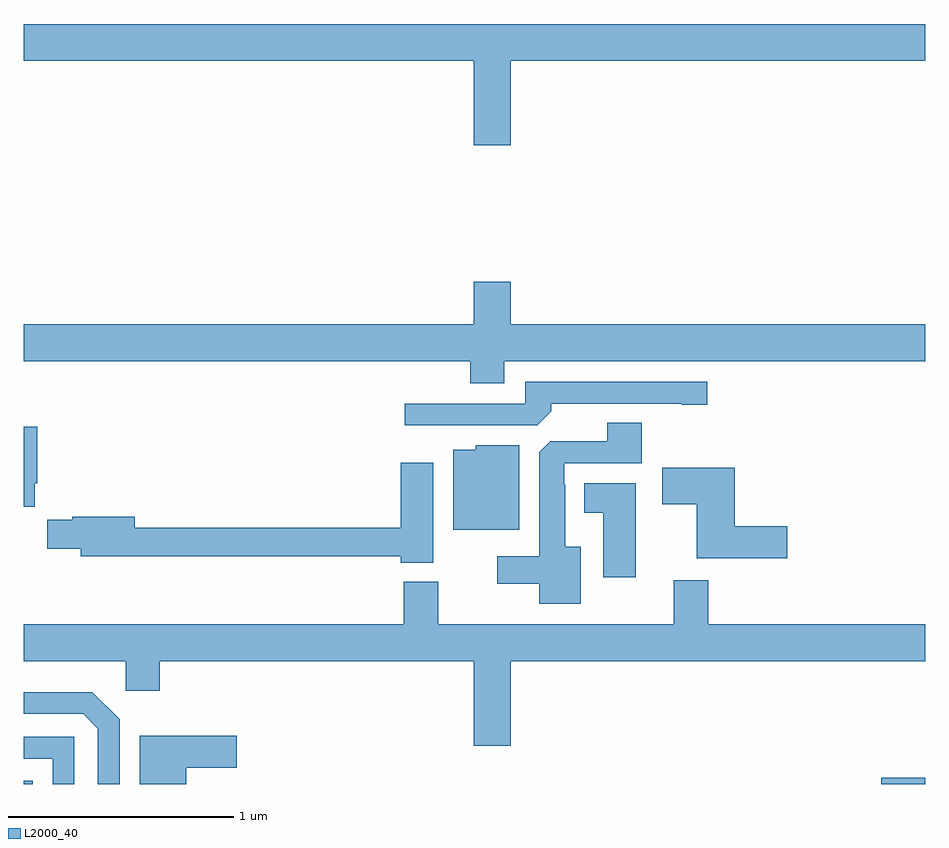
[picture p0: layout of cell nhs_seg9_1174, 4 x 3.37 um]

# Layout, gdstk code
import gdstk
lib = gdstk.Library(unit=1e-6, precision=1e-09)
def R(c, l, rs):  # rectangles x0, y0, x1, y1
    for r in rs: c.add(gdstk.rectangle(r[:2], r[2:], *l))
def P(c, l, *ps):  # polygons
    for p in ps: c.add(gdstk.Polygon(p, *l))
L2000_40 = (2000, 40)

nhs_seg9_1174 = lib.new_cell('nhs_seg9_1174')
R(nhs_seg9_1174, L2000_40, [(175,1238.5,175.039,1238.515), (178.805,1238.5,179,1238.528)])
P(nhs_seg9_1174, L2000_40, [(177.16,1241.708),(179,1241.708),(179,1241.872),(175,1241.872),(175,1241.708),(176.996,1241.708),(176.996,1241.334),(177.16,1241.334)],
  [(177.133,1240.376),(179,1240.376),(179,1240.54),(177.16,1240.54),(177.16,1240.729),(176.996,1240.729),(176.996,1240.54),(175,1240.54),(175,1240.376),(176.981,1240.376),(176.981,1240.277),(177.133,1240.277)],
  [(177.341,1240.154),(177.341,1240.188),(177.92,1240.188),(177.92,1240.183),(178.033,1240.183),(178.033,1240.284),(177.225,1240.284),(177.225,1240.188),(176.691,1240.188),(176.691,1240.092),(177.279,1240.092)],
  [(177.472,1239.553),(177.403,1239.553),(177.403,1239.827),(177.399,1239.827),(177.399,1239.924),(177.743,1239.924),(177.743,1240.103),(177.59,1240.103),(177.59,1240.02),(177.336,1240.02),(177.287,1239.971),(177.287,1239.511),(177.102,1239.511),(177.102,1239.389),(177.287,1239.389),(177.287,1239.299),(177.472,1239.299)],
  [(175.048,1239.835),(175.061,1239.835),(175.061,1240.084),(175,1240.084),(175,1239.731),(175.048,1239.731)],
  [(177.199,1240.003),(177.006,1240.003),(177.006,1239.982),(176.906,1239.982),(176.906,1239.629),(177.199,1239.629)],
  [(176.818,1239.925),(176.672,1239.925),(176.672,1239.638),(175.492,1239.638),(175.492,1239.686),(175.216,1239.686),(175.216,1239.673),(175.105,1239.673),(175.105,1239.544),(175.253,1239.544),(175.253,1239.51),(176.672,1239.51),(176.672,1239.482),(176.818,1239.482)],
  [(178.387,1239.644),(178.154,1239.644),(178.154,1239.904),(177.834,1239.904),(177.834,1239.742),(177.986,1239.742),(177.986,1239.502),(178.387,1239.502)],
  [(177.715,1239.835),(177.488,1239.835),(177.488,1239.704),(177.572,1239.704),(177.572,1239.417),(177.715,1239.417)],
  [(176.687,1239.397),(176.687,1239.208),(175,1239.208),(175,1239.044),(175.452,1239.044),(175.452,1238.913),(175.604,1238.913),(175.604,1239.044),(176.996,1239.044),(176.996,1238.67),(177.16,1238.67),(177.16,1239.044),(179,1239.044),(179,1239.208),(178.037,1239.208),(178.037,1239.403),(177.884,1239.403),(177.884,1239.208),(176.839,1239.208),(176.839,1239.397)],
  [(175.425,1238.787),(175.304,1238.908),(175,1238.908),(175,1238.811),(175.263,1238.811),(175.329,1238.745),(175.329,1238.5),(175.425,1238.5)],
  [(175.721,1238.573),(175.945,1238.573),(175.945,1238.715),(175.514,1238.715),(175.514,1238.5),(175.721,1238.5)],
  [(175.224,1238.709),(175,1238.709),(175,1238.613),(175.128,1238.613),(175.128,1238.5),(175.224,1238.5)])

lib.write_gds('nhs_seg9_1174.gds')
